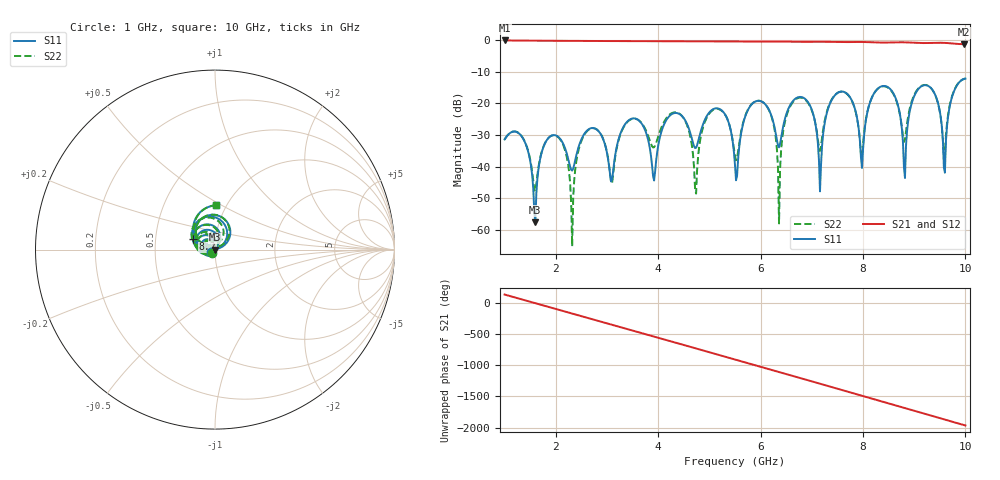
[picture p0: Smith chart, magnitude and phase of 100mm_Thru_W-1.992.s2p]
! Touchstone file exported from HFSS 2018.2.0
!  File:  C:/Users/10024/OneDrive - The University of Nottingham Ningbo China/Year 4/Final Year Project/HFSS project/Patch-1.aedt
!  Generated:  4:47:54 下午  3月 10, 2022
!  Design:  SMA_workbench
!  Project:  Patch-1
!  Setup:  Setup1
!  Solution:  Sweep
! Variables:
!  MW = 1.992mm
!  ThruL = 100mm
!  g = 0.2mm
!  subH = 0.8mm
!  subX = 20mm
!  subY = 110mm
# GHZ S MA R 50.000000
! Modal data exported
! Port[1] = SMA_CONNECTOR1_1:1
! Port[2] = SMA_CONNECTOR2_1:1
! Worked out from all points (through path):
!   451 points, 1 GHz to 10 GHz, reference 50 ohm
!   highest |S21| = -0.09 dB at 1 GHz (marker M1); lowest = -1.3 dB at 9.98 GHz (marker M2)
!   group delay of S21, straight-line fit = 647 ps
!   lowest |S11| = -57.7 dB at 1.6 GHz (marker M3), VSWR 1.00, Z = 49.9 - j0.0883 ohm
!   |S11| at or under -10 dB: start of sweep to end of sweep
!   |S22| runs from -65.2 to -12.1 dB; largest |S21 - S12| = 6.9e-14
!   S11 on the Smith chart (normalised r, x): 1 GHz: 0.96, -0.03; 8.2 GHz: 0.77, +0.09; 10 GHz: 0.89, +0.47
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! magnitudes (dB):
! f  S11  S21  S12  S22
! 1 GHz  -31.4  -0.1  -0.1  -31.4
! 1.6 GHz  -57.7  -0.2  -0.2  -47.8
! 2 GHz  -30.1  -0.2  -0.2  -30.2
! 2.32 GHz  -41.2  -0.2  -0.2  -65.2
! 2.5 GHz  -31.4  -0.2  -0.2  -31.8
! 4 GHz  -33.3  -0.3  -0.3  -30.5
! 4.74 GHz  -34.0  -0.4  -0.4  -48.5
! 5.16 GHz  -21.6  -0.4  -0.4  -21.7
! 5.5 GHz  -39.5  -0.4  -0.4  -36.6
! 5.88 GHz  -19.6  -0.5  -0.5  -19.5
! 6.36 GHz  -33.9  -0.4  -0.4  -58.0
! 7 GHz  -22.0  -0.5  -0.5  -22.2
! 7.16 GHz  -47.8  -0.5  -0.5  -35.0
! 7.44 GHz  -17.6  -0.6  -0.6  -17.6
! 7.98 GHz  -40.4  -0.6  -0.6  -37.0
! 8.2 GHz  -17.3  -0.7  -0.7  -17.3
! 8.5 GHz  -15.0  -0.7  -0.7  -15.1
! 8.8 GHz  -40.1  -0.7  -0.7  -32.2
! 9.2 GHz  -14.2  -0.9  -0.9  -14.2
! 9.6 GHz  -41.9  -0.9  -0.9  -36.0
! 9.98 GHz  -12.2  -1.3  -1.3  -12.2
! 10 GHz  -12.2  -1.3  -1.3  -12.1
